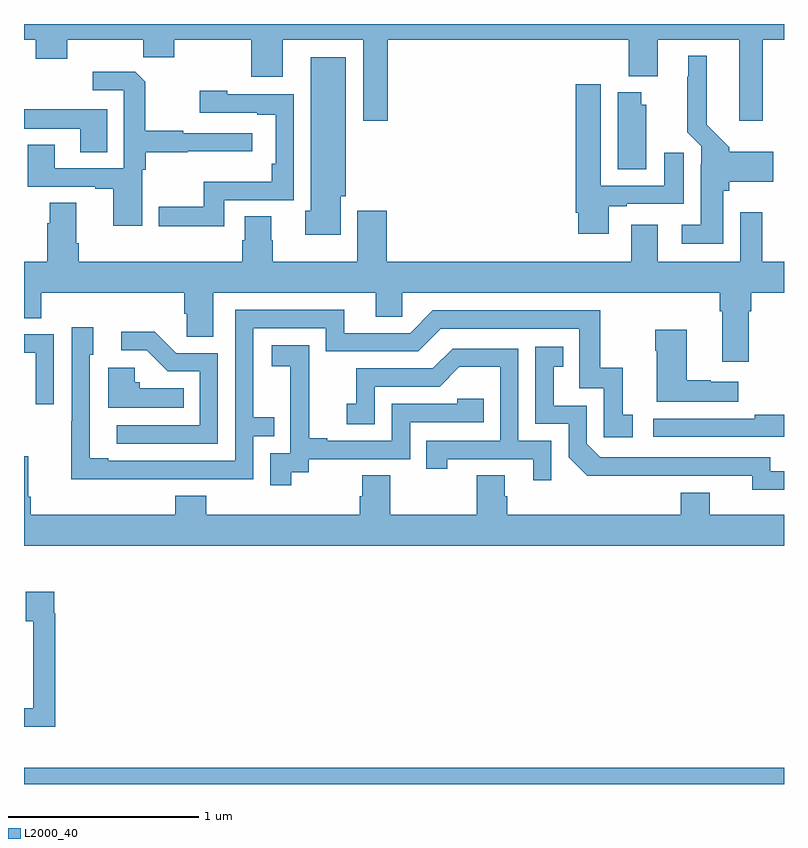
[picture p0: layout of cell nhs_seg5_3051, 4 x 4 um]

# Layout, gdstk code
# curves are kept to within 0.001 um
import gdstk
lib = gdstk.Library(unit=1e-6, precision=1e-09)
def R(c, l, rs):  # rectangles x0, y0, x1, y1
    for r in rs: c.add(gdstk.rectangle(r[:2], r[2:], *l))
def P(c, l, *ps):  # polygons
    for p in ps: c.add(gdstk.Polygon(p, *l))
L2000_40 = (2000, 40)

nhs_seg5_3051 = lib.new_cell('nhs_seg5_3051')
R(nhs_seg5_3051, L2000_40, [(287,896.799,291,896.884)])
P(nhs_seg5_3051, L2000_40, [(288.914,900.716),(290.183,900.716),(290.183,900.524),(290.335,900.524),(290.335,900.716),(290.765,900.716),(290.765,900.291),(290.888,900.291),(290.888,900.716),(291,900.716),(291,900.799),(287,900.799),(287,900.716),(287.063,900.716),(287.063,900.617),(287.227,900.617),(287.227,900.716),(287.627,900.716),(287.627,900.623),(287.791,900.623),(287.791,900.716),(288.197,900.716),(288.197,900.522),(288.361,900.522),(288.361,900.716),(288.785,900.716),(288.785,900.291),(288.914,900.291)],
  [(290.68,899.922),(290.711,899.922),(290.711,899.969),(290.944,899.969),(290.944,900.127),(290.711,900.127),(290.711,900.15),(290.593,900.268),(290.593,900.631),(290.495,900.631),(290.495,900.521),(290.491,900.521),(290.491,900.23),(290.565,900.156),(290.565,900.062),(290.561,900.062),(290.561,899.743),(290.463,899.743),(290.463,899.642),(290.68,899.642)],
  [(288.667,899.892),(288.694,899.892),(288.694,900.625),(288.509,900.625),(288.509,899.816),(288.479,899.816),(288.479,899.69),(288.667,899.69)],
  [(287.622,900.032),(287.642,900.032),(287.642,900.124),(287.861,900.124),(287.861,900.128),(288.202,900.128),(288.202,900.225),(287.837,900.225),(287.837,900.238),(287.637,900.238),(287.637,900.495),(287.585,900.547),(287.361,900.547),(287.361,900.45),(287.526,900.45),(287.526,900.039),(287.161,900.039),(287.161,900.164),(287.021,900.164),(287.021,899.943),(287.375,899.943),(287.375,899.931),(287.471,899.931),(287.471,899.736),(287.622,899.736)],
  [(290.077,899.841),(290.173,899.841),(290.173,899.853),(290.473,899.853),(290.473,900.121),(290.369,900.121),(290.369,899.949),(290.035,899.949),(290.035,900.481),(289.904,900.481),(289.904,899.806),(289.916,899.806),(289.916,899.694),(290.077,899.694)],
  [(288.054,899.871),(288.42,899.871),(288.42,900.429),(288.069,900.429),(288.069,900.448),(287.925,900.448),(287.925,900.333),(288.227,900.333),(288.227,900.321),(288.324,900.321),(288.324,900.064),(288.304,900.064),(288.304,899.968),(287.946,899.968),(287.946,899.837),(287.709,899.837),(287.709,899.735),(288.054,899.735)],
  [(290.275,900.375),(290.248,900.375),(290.248,900.439),(290.126,900.439),(290.126,900.034),(290.275,900.034)],
  [(287.437,900.35),(287,900.35),(287,900.249),(287.297,900.249),(287.297,900.124),(287.437,900.124)],
  [(287.843,899.275),(287.856,899.275),(287.856,899.152),(287.995,899.152),(287.995,899.384),(288.851,899.384),(288.851,899.257),(288.99,899.257),(288.99,899.384),(290.663,899.384),(290.663,899.288),(290.675,899.288),(290.675,899.022),(290.815,899.022),(290.815,899.288),(290.828,899.288),(290.828,899.384),(291,899.384),(291,899.548),(290.885,899.548),(290.885,899.809),(290.769,899.809),(290.769,899.548),(290.335,899.548),(290.335,899.743),(290.195,899.743),(290.195,899.548),(288.908,899.548),(288.908,899.815),(288.755,899.815),(288.755,899.548),(288.309,899.548),(288.309,899.661),(288.301,899.661),(288.301,899.786),(288.161,899.786),(288.161,899.661),(288.149,899.661),(288.149,899.548),(287.288,899.548),(287.288,899.644),(287.275,899.644),(287.275,899.858),(287.135,899.858),(287.135,899.75),(287.123,899.75),(287.123,899.548),(287,899.548),(287,899.251),(287.09,899.251),(287.09,899.384),(287.843,899.384)],
  [(287.711,898.404),(288.207,898.404),(288.207,898.629),(288.317,898.629),(288.317,898.73),(288.207,898.73),(288.207,899.199),(288.588,899.199),(288.588,899.076),(289.074,899.076),(289.194,899.196),(289.923,899.196),(289.923,898.881),(290.052,898.881),(290.052,898.623),(290.203,898.623),(290.203,898.743),(290.15,898.743),(290.15,898.99),(290.032,898.99),(290.032,899.292),(289.152,899.292),(289.032,899.172),(288.685,899.172),(288.685,899.295),(288.111,899.295),(288.111,898.5),(287.443,898.5),(287.443,898.513),(287.346,898.513),(287.346,899.058),(287.365,899.058),(287.365,899.203),(287.25,899.203),(287.25,898.709),(287.248,898.709),(287.248,898.403)],
  [(290.758,898.915),(290.615,898.915),(290.615,898.925),(290.488,898.925),(290.488,899.191),(290.323,899.191),(290.323,899.078),(290.33,899.078),(290.33,898.811),(290.758,898.811)],
  [(288.021,899.067),(287.802,899.067),(287.689,899.18),(287.511,899.18),(287.511,899.082),(287.645,899.082),(287.756,898.971),(287.925,898.971),(287.925,898.686),(287.487,898.686),(287.487,898.59),(288.021,898.59)],
  [(287.157,899.166),(287,899.166),(287,899.07),(287.061,899.07),(287.061,898.797),(287.157,898.797)],
  [(288.406,898.441),(288.498,898.441),(288.498,898.509),(289.032,898.509),(289.032,898.704),(289.421,898.704),(289.421,898.827),(289.281,898.827),(289.281,898.8),(288.936,898.8),(288.936,898.605),(288.595,898.605),(288.595,898.618),(288.5,898.618),(288.5,898.901),(288.501,898.901),(288.501,899.107),(288.303,899.107),(288.303,898.997),(288.401,898.997),(288.401,898.769),(288.402,898.769),(288.402,898.539),(288.297,898.539),(288.297,898.371),(288.406,898.371)],
  [(291,898.446),(290.928,898.446),(290.928,898.518),(290.034,898.518),(289.962,898.59),(289.962,898.791),(289.789,898.791),(289.789,898.995),(289.838,898.995),(289.838,899.101),(289.692,899.101),(289.692,898.695),(289.866,898.695),(289.866,898.518),(289.964,898.421),(290.832,898.422),(290.832,898.349),(291,898.349)],
  [(289.776,898.605),(289.602,898.605),(289.602,899.091),(289.256,899.091),(289.151,898.986),(288.748,898.986),(288.748,898.801),(288.699,898.801),(288.699,898.692),(288.846,898.692),(288.846,898.89),(289.188,898.89),(289.292,898.994),(289.506,898.994),(289.506,898.605),(289.117,898.605),(289.117,898.458),(289.228,898.458),(289.228,898.509),(289.679,898.509),(289.679,898.398),(289.776,898.398)],
  [(287.84,898.882),(287.61,898.882),(287.61,898.914),(287.583,898.914),(287.583,898.99),(287.444,898.99),(287.444,898.778),(287.84,898.778)],
  [(291,898.742),(290.845,898.742),(290.845,898.722),(290.313,898.722),(290.313,898.626),(291,898.626)],
  [(291,898.216),(290.608,898.216),(290.608,898.333),(290.456,898.333),(290.456,898.216),(289.544,898.216),(289.544,898.314),(289.531,898.314),(289.531,898.424),(289.384,898.424),(289.384,898.216),(288.927,898.216),(288.927,898.424),(288.779,898.424),(288.779,898.314),(288.767,898.314),(288.767,898.216),(287.96,898.216),(287.96,898.315),(287.795,898.315),(287.795,898.216),(287.036,898.216),(287.036,898.312),(287.023,898.312),(287.023,898.525),(287,898.525),(287,898.052),(291,898.052)],
  [(287.165,897.698),(287.158,897.698),(287.158,897.811),(287.009,897.811),(287.009,897.655),(287.049,897.655),(287.049,897.198),(287,897.198),(287,897.101),(287.165,897.101)])

lib.write_gds('nhs_seg5_3051.gds')
